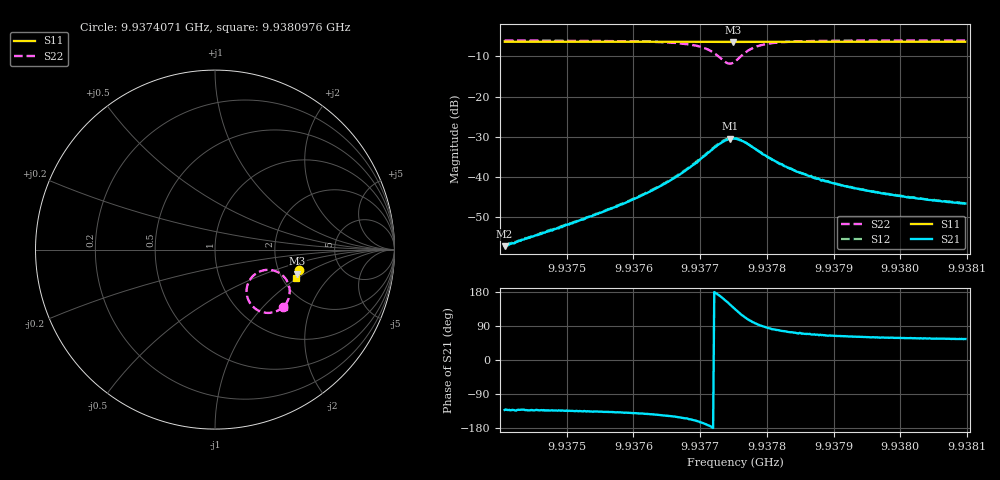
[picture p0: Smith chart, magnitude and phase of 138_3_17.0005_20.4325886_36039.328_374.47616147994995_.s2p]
#  HZ  S  RI  R  50.00
! Rohde & Schwarz Vector Network Analyzer
! Rohde-Schwarz,ZNB20-2Port,1311601062101988,3.16
! Created: UTC 3/20/2024, 10:58:14 PM
! freq[Hz]  re:S11  im:S11  re:S21  im:S21  re:S12  im:S12  re:S22  im:S22
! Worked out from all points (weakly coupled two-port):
!   401 points, 9.9374071 GHz to 9.9380976 GHz, reference 50 ohm
!   highest |S21| = -30.44 dB at 9.9377455 GHz (marker M1); lowest = -57.2 dB at 9.9374071 GHz (marker M2)
!   lowest |S11| = -6.4 dB at 9.9377489 GHz (marker M3), VSWR 2.83, Z = 124 - j43.1 ohm
!   |S11| at or under -10 dB: nowhere
!   |S22| runs from -11.8 to -6.0 dB; largest |S21 - S12| = 0.0015
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9.93740708e9  0.4695 -0.1134  -0.000923 -0.00103  -0.000964 -0.00103  0.3811 -0.3186
9.93752275e9  0.4671 -0.1212  -0.00209 -0.00207  -0.00214 -0.00208  0.3652 -0.3311
9.93758663e9  0.4655 -0.1255  -0.00357 -0.00309  -0.00369 -0.00311  0.3489 -0.3404
9.93763842e9  0.4639 -0.1292  -0.00619 -0.00434  -0.00636 -0.00429  0.3234 -0.3494
9.93767295e9  0.4629 -0.1317  -0.00996 -0.0052  -0.0103 -0.00509  0.2901 -0.3525
9.93769194e9  0.4619 -0.1328  -0.0136 -0.00509  -0.0141 -0.00488  0.2596 -0.3468
9.93770748e9  0.4611 -0.1339  -0.0182 -0.00364  -0.0187 -0.00324  0.2246 -0.3292
9.93771956e9  0.46 -0.1344  -0.0225 -0.000197  -0.023 0.000247  0.1942 -0.2964
9.93772992e9  0.4595 -0.1346  -0.0255 0.005  -0.026 0.00606  0.1768 -0.2479
9.93773855e9  0.4591 -0.1343  -0.0263 0.0115  -0.0264 0.0128  0.1818 -0.1953
9.93774546e9  0.4589 -0.1341  -0.0248 0.017  -0.0244 0.0182  0.2047 -0.1546
9.93774891e9  0.4588 -0.134  -0.023 0.0194  -0.0225 0.0206  0.2219 -0.1382
9.93775236e9  0.4591 -0.1339  -0.0208 0.0216  -0.0202 0.0227  0.2421 -0.1254
9.937761e9  0.4596 -0.1339  -0.0148 0.0246  -0.0139 0.0253  0.2952 -0.1126
9.93777308e9  0.4602 -0.1346  -0.00689 0.0243  -0.00613 0.0246  0.3554 -0.1283
9.93779035e9  0.4606 -0.1361  -0.000312 0.0203  0.0001 0.0205  0.3987 -0.1703
9.93781106e9  0.4606 -0.1379  0.00258 0.0158  0.00294 0.0158  0.4142 -0.2112
9.93783351e9  0.4601 -0.1397  0.00367 0.0125  0.00384 0.0122  0.416 -0.2402
9.93786804e9  0.4596 -0.1422  0.00385 0.00919  0.004 0.00914  0.4116 -0.2665
9.9379112e9  0.4586 -0.1454  0.00357 0.00706  0.00371 0.00704  0.4045 -0.2854
9.93798371e9  0.4566 -0.1503  0.00315 0.00517  0.00328 0.0052  0.3949 -0.3029
9.93809765e9  0.4537 -0.1576  0.00266 0.00386  0.00276 0.00381  0.3836 -0.3183
